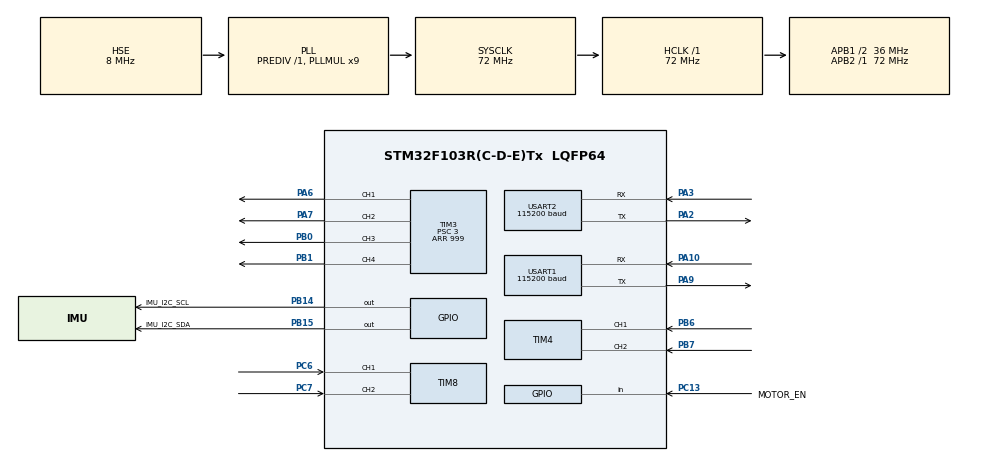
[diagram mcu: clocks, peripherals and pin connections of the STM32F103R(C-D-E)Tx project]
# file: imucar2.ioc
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Dma.USART2_RX.0=DMA1_Channel6
Dma.USART2_RX.0.Direction=DMA_PERIPH_TO_MEMORY
Dma.USART2_RX.0.Instance=DMA1_Channel6
Dma.USART2_RX.0.MemDataAlignment=DMA_MDATAALIGN_BYTE
Dma.USART2_RX.0.MemInc=DMA_MINC_ENABLE
Dma.USART2_RX.0.Mode=DMA_CIRCULAR
Dma.USART2_RX.0.PeriphDataAlignment=DMA_PDATAALIGN_BYTE
Dma.USART2_RX.0.PeriphInc=DMA_PINC_DISABLE
Dma.USART2_RX.0.Priority=DMA_PRIORITY_LOW
Mcu.Family=STM32F1
Mcu.Name=STM32F103R(C-D-E)Tx
Mcu.Package=LQFP64
NVIC.PriorityGroup=NVIC_PRIORITYGROUP_4
NVIC.TIM2_IRQn=true\:0\:0\:false\:false\:true\:true\:true\:true
PA13.Mode=Serial_Wire
PA13.Signal=SYS_JTMS-SWDIO
PA14.Mode=Serial_Wire
PA14.Signal=SYS_JTCK-SWCLK
PA2.Mode=Asynchronous
PA2.Signal=USART2_TX
PA3.Mode=Asynchronous
PA3.Signal=USART2_RX
PA9.Mode=Asynchronous
PA9.Signal=USART1_TX
PA10.Mode=Asynchronous
PA10.Signal=USART1_RX
PA6.Signal=S_TIM3_CH1
PA7.Signal=S_TIM3_CH2
PB0.Signal=S_TIM3_CH3
PB1.Signal=S_TIM3_CH4
PB14.GPIO_Label=IMU_I2C_SCL
PB14.GPIO_ModeDefaultOutputPP=GPIO_MODE_OUTPUT_OD
PB14.GPIO_PuPd=GPIO_PULLUP
PB14.PinState=GPIO_PIN_SET
PB14.Signal=GPIO_Output
PB15.GPIO_Label=IMU_I2C_SDA
PB15.GPIO_ModeDefaultOutputPP=GPIO_MODE_OUTPUT_OD
PB15.GPIO_PuPd=GPIO_PULLUP
PB15.PinState=GPIO_PIN_SET
PB15.Signal=GPIO_Output
PC13.GPIO_Label=MOTOR_EN
PC13.GPIO_PuPd=GPIO_PULLUP
PC13.Signal=GPIO_Input
PB6.Signal=S_TIM4_CH1
PB7.Signal=S_TIM4_CH2
PC6.Signal=S_TIM8_CH1
PC7.Signal=S_TIM8_CH2
PD0-OSC_IN.Mode=HSE-External-Oscillator
PD0-OSC_IN.Signal=RCC_OSC_IN
PD1-OSC_OUT.Mode=HSE-External-Oscillator
PD1-OSC_OUT.Signal=RCC_OSC_OUT
ProjectManager.HeapSize=0x200
ProjectManager.StackSize=0x800
ProjectManager.TargetToolchain=STM32CubeIDE
RCC.AHBFreq_Value=72000000
RCC.APB1CLKDivider=RCC_HCLK_DIV2
RCC.APB1Freq_Value=36000000
RCC.APB1TimFreq_Value=72000000
RCC.APB2Freq_Value=72000000
RCC.APB2TimFreq_Value=72000000
RCC.HCLKFreq_Value=72000000
RCC.PLLMUL=RCC_PLL_MUL9
RCC.PLLSourceVirtual=RCC_PLLSOURCE_HSE
RCC.SYSCLKFreq_VALUE=72000000
RCC.SYSCLKSource=RCC_SYSCLKSOURCE_PLLCLK
RCC.USBFreq_Value=72000000
SH.S_TIM3_CH1.0=TIM3_CH1,PWM Generation1 CH1
SH.S_TIM3_CH2.0=TIM3_CH2,PWM Generation2 CH2
SH.S_TIM3_CH3.0=TIM3_CH3,PWM Generation3 CH3
SH.S_TIM3_CH4.0=TIM3_CH4,PWM Generation4 CH4
SH.S_TIM4_CH1.0=TIM4_CH1,Encoder_Interface
SH.S_TIM4_CH2.0=TIM4_CH2,Encoder_Interface
SH.S_TIM8_CH1.0=TIM8_CH1,Encoder_Interface
SH.S_TIM8_CH2.0=TIM8_CH2,Encoder_Interface
TIM2.AutoReloadPreload=TIM_AUTORELOAD_PRELOAD_ENABLE
TIM2.Period=49
TIM2.Prescaler=7199
TIM3.AutoReloadPreload=TIM_AUTORELOAD_PRELOAD_ENABLE
TIM3.Channel-PWM\ Generation1\ CH1=TIM_CHANNEL_1
TIM3.Channel-PWM\ Generation2\ CH2=TIM_CHANNEL_2
TIM3.Channel-PWM\ Generation3\ CH3=TIM_CHANNEL_3
TIM3.Channel-PWM\ Generation4\ CH4=TIM_CHANNEL_4
TIM3.Prescaler=3
TIM3.Period=999
TIM4.EncoderMode=TIM_ENCODERMODE_TI12
TIM8.EncoderMode=TIM_ENCODERMODE_TI12
USART2.BaudRate=115200
USART2.Parity=PARITY_NONE
USART2.StopBits=STOPBITS_1
USART2.VirtualMode=VM_ASYNC
USART2.WordLength=WORDLENGTH_8B
USART1.BaudRate=115200
USART1.Parity=PARITY_NONE
USART1.StopBits=STOPBITS_1
USART1.VirtualMode=VM_ASYNC
USART1.WordLength=WORDLENGTH_8B
VP_TIM2_VS_ClockSourceINT.Mode=Internal
VP_TIM3_VS_ClockSourceINT.Mode=Internal
board=custom

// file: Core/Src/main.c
/* USER CODE BEGIN Header */
/**
  ******************************************************************************
  * @file           : main.c
  * @brief          : Main program body
  ******************************************************************************
  * @attention
  *
  * Copyright (c) 2026 STMicroelectronics.
  * All rights reserved.
  *
  * This software is licensed under terms that can be found in the LICENSE file
  * in the root directory of this software component.
  * If no LICENSE file comes with this software, it is provided AS-IS.
  *
  ******************************************************************************
  */
/* USER CODE END Header */
#include "main.h"
#include "tim.h"
#include "gpio.h"
#include "dma.h"
#include "usart.h"

/* USER CODE BEGIN Includes */
#include "motor.h"
#include "line_sensor.h"
#include "imu.h"
#include "track.h"
#include "link.h"
/* USER CODE END Includes */

/* USER CODE BEGIN PD */
#define STARTUP_WAIT_MS   1500u   /* 上电后等模块/IMU 就绪(校准期间小车必须静止) */

/*
 * 1 = 上电先做一次电机死区扫描: 左轮占空比从 0% 慢慢加到 100%, 每 200ms 打一行
 *     "[SWEEP] duty=xx% ENC=nnnn"。你盯着左轮什么时候开始转, 把那一行的 duty
 *     填到 Core/Inc/motor.h 的 MOTOR_DEADZONE_PERCENT 里。
 *     **扫描时轮子会转, 必须把车架空**; 测完把这里改回 0。
 */
#define MOTOR_DEADZONE_SWEEP   0
/* USER CODE END PD */

/* USER CODE BEGIN PV */
extern TIM_HandleTypeDef htim2;
extern TIM_HandleTypeDef htim3;
/* USER CODE END PV */

void SystemClock_Config(void);
/* USER CODE BEGIN PFP */
static void Chassis_Telemetry(void);
#if MOTOR_DEADZONE_SWEEP
static void Motor_DeadzoneSweep(void);
#endif
/* USER CODE END PFP */

int main(void)
{

  /* MCU Configuration--------------------------------------------------------*/

  /* Reset of all peripherals, Initializes the Flash interface and the Systick. */
  HAL_Init();

  /* Configure the system clock */
  SystemClock_Config();

  /* Initialize all configured peripherals */
  MX_DMA_Init();
  MX_GPIO_Init();
  MX_TIM2_Init();
  MX_TIM3_Init();
  MX_TIM4_Init();
  MX_TIM8_Init();
  MX_USART1_UART_Init();
  MX_USART2_UART_Init();
  /* USER CODE BEGIN 2 */

  Link_Init();

  /*
   * 第一行一定要最早打出来: 只要它出现, 就说明"程序在跑 + 时钟正常 +
   * USART1/PA9 没问题", 剩下所有异常就都是后面某一步的事。
   */
  Link_Printf("\r\n[BOOT] imucar2 line-follow  clk=%lu Hz\r\n",
              (unsigned long)SystemCoreClock);

  /* 电机 + 编码器(先让 PWM 输出为 0, 车不会动) */
  Motor_Init();
  Link_Printf("[1/4] motor + encoder ready\r\n");

#if MOTOR_DEADZONE_SWEEP
  Motor_DeadzoneSweep();
#endif

  /* 8 路巡线模块: 启动 DMA 接收并下发 "$0,0,1#" */
  LineSensor_Init();
  Track_Init();
  Link_Printf("[2/4] line sensor driver ready\r\n");

  /* 板载 IMU: 初始化 + 陀螺仪零偏校准(此时小车必须完全静止) */
  {
      uint8_t imu_ok = IMU_Init();

      if (imu_ok != 0u) {
          Link_Printf("[3/4] imu ok, addr=0x%02X WHO_AM_I=0x%02X %s\r\n",
                      (unsigned int)IMU_GetAddress(),
                      (unsigned int)IMU_GetWhoAmI(),
                      (IMU_IsExpected() != 0u) ? "(MPU6050)" : "(unexpected!)");
          IMU_CalibrateGyro(600u);
          IMU_ResetYaw();
          Link_Printf("[4/4] gyro calibrated, starting 5ms loop\r\n");
      } else {
          uint8_t bus;
          uint8_t found[8];
          uint8_t n;
          uint8_t k;

          Link_Printf("[3/4] imu FAIL: no answer at 0x68/0x69\r\n");

          /* 总线体检: 先看两根线能不能被释放成高电平 */
          bus = IMU_BusCheck();
          Link_Printf("[DIAG] i2c idle SCL=%u SDA=%u (want 1/1)\r\n",
                      (unsigned int)(((bus & 0x01u) != 0u) ? 1u : 0u),
                      (unsigned int)(((bus & 0x02u) != 0u) ? 1u : 0u));

          /* 再全总线扫一遍, 看看到底有没有器件应答 */
          n = IMU_ProbeBus(found, (uint8_t)sizeof(found));
          if (n == 0u) {
              Link_Printf("[DIAG] i2c scan 0x08..0x77: nobody ACKed\r\n");
          } else {
              Link_Printf("[DIAG] i2c scan: %u device(s) ->", (unsigned int)n);
              for (k = 0u; (k < n) && (k < (uint8_t)sizeof(found)); k++) {
                  Link_Printf(" 0x%02X", (unsigned int)found[k]);
              }
              Link_Printf("\r\n");
          }
          Link_Printf("[4/4] gyro NOT calibrated, 5ms loop starts (turn degraded)\r\n");
      }
  }

  /* 让传感器/IMU 再稳一会儿, 然后开始 5ms 控制节拍 */
  HAL_Delay(STARTUP_WAIT_MS);

  HAL_TIM_Base_Start_IT(&htim2);

  /* USER CODE END 2 */

  /* Infinite loop */
  while (1)
  {

    /* USER CODE BEGIN 3 */
    /* 上电阶段如果模块还没回数据, 周期性重发使能命令 */
    LineSensor_Maintenance();

#if LINK_CHASSIS_TELEMETRY
    {
        static uint32_t tlm_tick = 0u;
        uint32_t now = HAL_GetTick();

        if ((now - tlm_tick) >= LINK_CHASSIS_TELEMETRY_PERIOD_MS) {
            tlm_tick += LINK_CHASSIS_TELEMETRY_PERIOD_MS;
            if ((now - tlm_tick) >= LINK_CHASSIS_TELEMETRY_PERIOD_MS) {
                tlm_tick = now;
            }
            Chassis_Telemetry();
        }
    }
#endif

#if LINK_DEBUG_TEXT_TELEMETRY
    /* 每 2 秒打一次底层寄存器: 用来确认 PWM 是真的发出去了, 以及编码器有没有计数 */
    {
        static uint32_t diag_tick = 0u;
        if ((HAL_GetTick() - diag_tick) >= 2000u) {
            diag_tick = HAL_GetTick();
            Link_Printf("[DIAG] TIM3 CR1=%04X CCER=%04X PSC=%u ARR=%u CCR=%u/%u/%u/%u "
                        "AF=%02X/%02X ENC=%u/%u\r\n",
                        (unsigned int)htim3.Instance->CR1,
                        (unsigned int)htim3.Instance->CCER,
                        (unsigned int)htim3.Instance->PSC,
                        (unsigned int)htim3.Instance->ARR,
                        (unsigned int)htim3.Instance->CCR1,
                        (unsigned int)htim3.Instance->CCR2,
                        (unsigned int)htim3.Instance->CCR3,
                        (unsigned int)htim3.Instance->CCR4,
                        /* PA6/PA7 的配置在 GPIOA_CRL 的 bit31:24 (不是 CRH!) */
                        (unsigned int)((GPIOA->CRL >> 24) & 0xFFu),
                        (unsigned int)(GPIOB->CRL & 0xFFu),
                        (unsigned int)htim4.Instance->CNT,
                        (unsigned int)htim8.Instance->CNT);
            /* 最近一次转弯的实测数据: 跑完接上串口也能读到 */
            Track_PrintLastTurn();
        }
    }
#endif
  }
  /* USER CODE END 3 */
}

void SystemClock_Config(void)
{
  RCC_OscInitTypeDef RCC_OscInitStruct = {0};
  RCC_ClkInitTypeDef RCC_ClkInitStruct = {0};

  /** Initializes the RCC Oscillators according to the specified parameters
  * in the RCC_OscInitTypeDef structure.
  */
  RCC_OscInitStruct.OscillatorType = RCC_OSCILLATORTYPE_HSE;
  RCC_OscInitStruct.HSEState = RCC_HSE_ON;
  RCC_OscInitStruct.HSEPredivValue = RCC_HSE_PREDIV_DIV1;
  RCC_OscInitStruct.HSIState = RCC_HSI_ON;
  RCC_OscInitStruct.PLL.PLLState = RCC_PLL_ON;
  RCC_OscInitStruct.PLL.PLLSource = RCC_PLLSOURCE_HSE;
  RCC_OscInitStruct.PLL.PLLMUL = RCC_PLL_MUL9;
  if (HAL_RCC_OscConfig(&RCC_OscInitStruct) != HAL_OK)
  {
    Error_Handler();
  }

  /** Initializes the CPU, AHB and APB buses clocks
  */
  RCC_ClkInitStruct.ClockType = RCC_CLOCKTYPE_HCLK|RCC_CLOCKTYPE_SYSCLK
                              |RCC_CLOCKTYPE_PCLK1|RCC_CLOCKTYPE_PCLK2;
  RCC_ClkInitStruct.SYSCLKSource = RCC_SYSCLKSOURCE_PLLCLK;
  RCC_ClkInitStruct.AHBCLKDivider = RCC_SYSCLK_DIV1;
  RCC_ClkInitStruct.APB1CLKDivider = RCC_HCLK_DIV2;
  RCC_ClkInitStruct.APB2CLKDivider = RCC_HCLK_DIV1;

  if (HAL_RCC_ClockConfig(&RCC_ClkInitStruct, FLASH_LATENCY_2) != HAL_OK)
  {
    Error_Handler();
  }
}

/* USER CODE BEGIN 4 */

/* 5ms 定时器中断: 巡线数据 -> IMU 角度 -> 循迹状态机 -> 速度环 */
void HAL_TIM_PeriodElapsedCallback(TIM_HandleTypeDef *htim)
{
    if (htim->Instance == TIM2) {
        LineSensor_Poll();
        IMU_Update();
        Track_Update();
        Motor_ControlUpdate();
    }
}

#if MOTOR_DEADZONE_SWEEP
/*
 * 电机死区扫描(调试用): 左轮占空比 0 -> 100% 每 200ms 一档, 每档打一行。
 * 轮子刚开始转的那一档, 就是当前电池/摩擦下的实际死区, 填进 MOTOR_DEADZONE_PERCENT。
 * 同时看 ENC 有没有跟着变: 变了说明编码器也是好的。
 */
static void Motor_DeadzoneSweep(void)
{
    uint32_t d;

    Link_Printf("\r\n");
    Link_Printf("[SWEEP] !!! DEADZONE SWEEP - LIFT THE CAR OFF THE GROUND !!!\r\n");
    Link_Printf("[SWEEP] duty 0->100%%, 200ms per step, both wheels\r\n");

    for (d = 0u; d <= 100u; d += 2u) {
        uint16_t l0;
        uint16_t r0;
        uint32_t t0;
        int16_t  dl;
        int16_t  dr;

        Motor_SetDutyRaw(MOTOR_LEFT, (float)d);
        Motor_SetDutyRaw(MOTOR_RIGHT, (float)d);

        l0 = (uint16_t)htim4.Instance->CNT;
        r0 = (uint16_t)htim8.Instance->CNT;

        t0 = HAL_GetTick();
        while ((HAL_GetTick() - t0) < 200u) {
            /* 等轮子把这一档转出来 */
        }

        /* 这一档 200ms 里两个编码器各走了多少格: 0 = 没转起来 */
        dl = (int16_t)((uint16_t)htim4.Instance->CNT - l0);
        dr = (int16_t)((uint16_t)htim8.Instance->CNT - r0);

        Link_Printf("[SWEEP] %3u%%   L=%5d  R=%5d\r\n",
                    (unsigned int)d,
                    (int)dl,
                    (int)dr);
    }
    Motor_SetDutyRaw(MOTOR_LEFT, 0.0f);
    Motor_SetDutyRaw(MOTOR_RIGHT, 0.0f);
    Motor_Stop();
    Link_Printf("[SWEEP] done\r\n");
}
#endif

/* 50Hz 底盘状态帧: 16 字节固定长度, 小端字段, CRC16-CCITT-FALSE。 */
static void Chassis_Telemetry(void)
{
    static uint16_t seq = 0u;
    TrackState state = Track_GetState();
    int8_t     raw_turn_dir = Track_GetTurnDir();
    int8_t     turn_dir = 0;
    uint8_t    phase;
    uint8_t    flags = 0u;
    uint8_t    fault;
    uint8_t    direction_valid;

    switch (state) {
    case TRACK_LINE:
        phase = (Track_IsTurnExitActive() != 0u) ?
                LINK_PHASE_TURN_EXIT : LINK_PHASE_STRAIGHT;
        break;
    case TRACK_PRE_TURN:
        phase = LINK_PHASE_PRE_TURN;
        break;
    case TRACK_TURN:
        phase = LINK_PHASE_TURNING;
        break;
    case TRACK_LOST:
    case TRACK_STOP:
    default:
        phase = LINK_PHASE_FAULT;
        break;
    }

    direction_valid =
        ((phase == LINK_PHASE_PRE_TURN) ||
         (phase == LINK_PHASE_TURNING) ||
         (phase == LINK_PHASE_TURN_EXIT)) &&
        ((raw_turn_dir == 1) || (raw_turn_dir == -1));
    if (direction_valid != 0u) {
        turn_dir = raw_turn_dir;
        flags |= LINK_FLAG_TURN_DIR_VALID;
    }

    fault = (uint8_t)((phase == LINK_PHASE_FAULT) ||
                      (Motor_GetStallFlag() != 0u) ||
                      (IMU_IsOnline() == 0u) ||
                      (((phase == LINK_PHASE_PRE_TURN) ||
                        (phase == LINK_PHASE_TURNING) ||
                        (phase == LINK_PHASE_TURN_EXIT)) &&
                       (direction_valid == 0u)));
    if ((Motor_IsEnabled() != 0u) && (fault == 0u)) {
        flags |= LINK_FLAG_CONTROL_VALID;
    }
    if (state != TRACK_STOP) {
        flags |= LINK_FLAG_AUTO_TRACKING;
    }
    if (fault != 0u) {
        phase = LINK_PHASE_FAULT;
        flags |= LINK_FLAG_FAULT;
    }

    Link_SendChassisFrame(seq, phase, turn_dir, flags, HAL_GetTick());
    seq++;
}

/* USER CODE END 4 */

void Error_Handler(void)
{
  /* USER CODE BEGIN Error_Handler_Debug */
  /* User can add his own implementation to report the HAL error return state */
  /* 先把死因打出来(裸寄存器, 不依赖 HAL): 时钟配不上时会停在这里 */
  Link_Panic("\r\n[PANIC] Error_Handler: clock or peripheral init failed\r\n");
  __disable_irq();
  while (1)
  {
  }
  /* USER CODE END Error_Handler_Debug */
}
